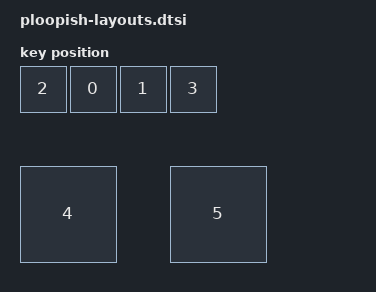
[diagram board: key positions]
#include <physical_layouts.dtsi>

/ {
    physical_layout0: physical_layout_0 {
        compatible = "zmk,physical-layout";
        display-name = "LAYOUT_default";

        kscan = <&kscan0>;
        transform = <&matrix_transform0>;


        keys  //                     w   h    x    y     rot    rx    ry
            = <&key_physical_attrs 100 100    100   0       0     0     0>
            , <&key_physical_attrs 100 100  200   0       0     0     0>
            , <&key_physical_attrs 100 100 0   0       0     0     0>
            , <&key_physical_attrs 100 100 300   0       0     0     0>
            , <&key_physical_attrs 200 200    0  200       0     0     0>
            , <&key_physical_attrs 200 200  300  200       0     0     0>
            ;
    };
};
